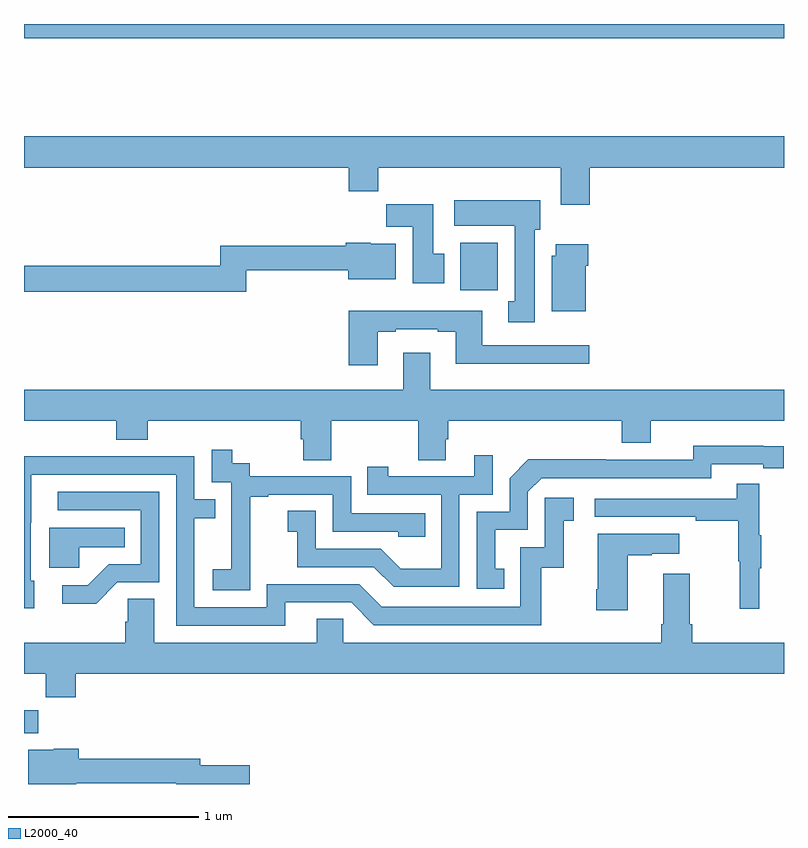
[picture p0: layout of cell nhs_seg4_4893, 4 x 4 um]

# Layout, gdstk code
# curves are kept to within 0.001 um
import gdstk
lib = gdstk.Library(unit=1e-6, precision=1e-09)
def R(c, l, rs):  # rectangles x0, y0, x1, y1
    for r in rs: c.add(gdstk.rectangle(r[:2], r[2:], *l))
def P(c, l, *ps):  # polygons
    for p in ps: c.add(gdstk.Polygon(p, *l))
L2000_40 = (2000, 40)

nhs_seg4_4893 = lib.new_cell('nhs_seg4_4893')
R(nhs_seg4_4893, L2000_40, [(375,803.168,375.074,803.287), (377.297,805.5,377.493,805.75), (375,806.824,379,806.9)])
P(nhs_seg4_4893, L2000_40, [(377.978,806.144),(379,806.144),(379,806.308),(375,806.308),(375,806.144),(376.709,806.144),(376.709,806.02),(376.865,806.02),(376.865,806.144),(377.825,806.144),(377.825,805.95),(377.978,805.95)],
  [(377.689,805.818),(377.716,805.818),(377.716,805.972),(377.265,805.972),(377.265,805.838),(377.582,805.838),(377.582,805.441),(377.549,805.441),(377.549,805.329),(377.689,805.329)],
  [(377.212,805.692),(377.155,805.692),(377.155,805.951),(376.906,805.951),(376.906,805.832),(377.045,805.832),(377.045,805.536),(377.212,805.536)],
  [(376.169,805.603),(376.706,805.603),(376.706,805.556),(376.957,805.556),(376.957,805.744),(376.824,805.744),(376.824,805.75),(376.694,805.75),(376.694,805.732),(376.033,805.732),(376.033,805.628),(375,805.628),(375,805.492),(376.169,805.492)],
  [(377.956,805.628),(377.969,805.628),(377.969,805.741),(377.798,805.741),(377.798,805.68),(377.777,805.68),(377.777,805.388),(377.956,805.388)],
  [(376.861,805.281),(376.957,805.281),(376.957,805.293),(377.177,805.293),(377.177,805.281),(377.273,805.281),(377.273,805.112),(377.974,805.112),(377.974,805.209),(377.413,805.209),(377.413,805.39),(376.709,805.39),(376.709,805.104),(376.861,805.104)],
  [(376.617,804.812),(377.074,804.812),(377.074,804.604),(377.221,804.604),(377.221,804.714),(377.234,804.714),(377.234,804.812),(378.146,804.812),(378.146,804.695),(378.298,804.695),(378.298,804.812),(379,804.812),(379,804.976),(377.137,804.976),(377.137,805.171),(376.997,805.171),(376.997,804.976),(375,804.976),(375,804.812),(375.485,804.812),(375.485,804.713),(375.65,804.713),(375.65,804.812),(376.457,804.812),(376.457,804.714),(376.469,804.714),(376.469,804.604),(376.617,804.604)],
  [(377.528,804.033),(377.479,804.033),(377.479,804.237),(377.652,804.237),(377.652,804.438),(377.724,804.51),(378.618,804.51),(378.618,804.582),(378.89,804.582),(378.89,804.562),(378.998,804.562),(378.998,804.678),(378.522,804.679),(378.522,804.606),(378.062,804.606),(378.062,804.608),(377.654,804.608),(377.556,804.51),(377.556,804.333),(377.382,804.333),(377.382,803.928),(377.528,803.928)],
  [(376.191,804.127),(376.19,804.127),(376.19,804.411),(376.285,804.411),(376.285,804.423),(376.626,804.423),(376.626,804.228),(376.971,804.228),(376.971,804.201),(377.111,804.201),(377.111,804.324),(376.722,804.324),(376.722,804.519),(376.188,804.519),(376.188,804.588),(376.096,804.588),(376.096,804.658),(375.987,804.658),(375.987,804.489),(376.092,804.489),(376.092,804.26),(376.091,804.26),(376.091,804.031),(375.993,804.031),(375.993,803.921),(376.191,803.921)],
  [(377.292,804.423),(377.466,804.423),(377.466,804.631),(377.369,804.631),(377.369,804.519),(376.918,804.519),(376.918,804.571),(376.807,804.571),(376.807,804.423),(377.196,804.423),(377.196,804.034),(376.982,804.034),(376.878,804.138),(376.536,804.138),(376.536,804.337),(376.389,804.337),(376.389,804.227),(376.438,804.227),(376.438,804.042),(376.841,804.042),(376.946,803.937),(377.292,803.937)],
  [(376.375,803.856),(376.722,803.856),(376.842,803.736),(377.722,803.736),(377.722,804.039),(377.84,804.039),(377.84,804.285),(377.893,804.285),(377.893,804.406),(377.742,804.406),(377.742,804.147),(377.613,804.147),(377.613,803.832),(376.884,803.832),(376.764,803.952),(376.278,803.952),(376.278,803.829),(375.897,803.829),(375.897,804.298),(376.007,804.298),(376.007,804.399),(375.897,804.399),(375.897,804.624),(375.401,804.624),(375.401,804.626),(375,804.626),(375,803.826),(375.055,803.826),(375.055,803.97),(375.036,803.97),(375.037,804.528),(375.801,804.528),(375.801,803.733),(376.375,803.733)],
  [(378.869,804.035),(378.88,804.035),(378.88,804.209),(378.869,804.209),(378.869,804.481),(378.751,804.481),(378.751,804.402),(378.003,804.402),(378.003,804.306),(378.535,804.306),(378.535,804.286),(378.759,804.286),(378.759,804.072),(378.766,804.072),(378.766,803.823),(378.869,803.823)],
  [(375.492,803.961),(375.711,803.961),(375.711,804.438),(375.177,804.438),(375.177,804.342),(375.615,804.342),(375.615,804.057),(375.446,804.057),(375.335,803.946),(375.201,803.946),(375.201,803.849),(375.379,803.849)],
  [(375.291,804.146),(375.53,804.146),(375.53,804.25),(375.134,804.25),(375.134,804.038),(375.291,804.038)],
  [(378.178,804.103),(378.305,804.103),(378.305,804.113),(378.448,804.113),(378.448,804.217),(378.02,804.217),(378.02,803.926),(378.013,803.926),(378.013,803.814),(378.178,803.814)],
  [(375.272,803.48),(379,803.48),(379,803.644),(378.518,803.644),(378.518,803.74),(378.505,803.74),(378.505,804.007),(378.365,804.007),(378.365,803.74),(378.353,803.74),(378.353,803.644),(376.68,803.644),(376.68,803.771),(376.541,803.771),(376.541,803.644),(375.685,803.644),(375.685,803.876),(375.546,803.876),(375.546,803.753),(375.533,803.753),(375.533,803.644),(375,803.644),(375,803.48),(375.115,803.48),(375.115,803.356),(375.272,803.356)],
  [(375.274,802.903),(375.8,802.903),(375.8,802.9),(376.189,802.9),(376.189,802.998),(375.928,802.998),(375.928,803.032),(375.287,803.032),(375.287,803.086),(375.156,803.086),(375.156,803.08),(375.023,803.08),(375.023,802.9),(375.274,802.9)])

lib.write_gds('nhs_seg4_4893.gds')
